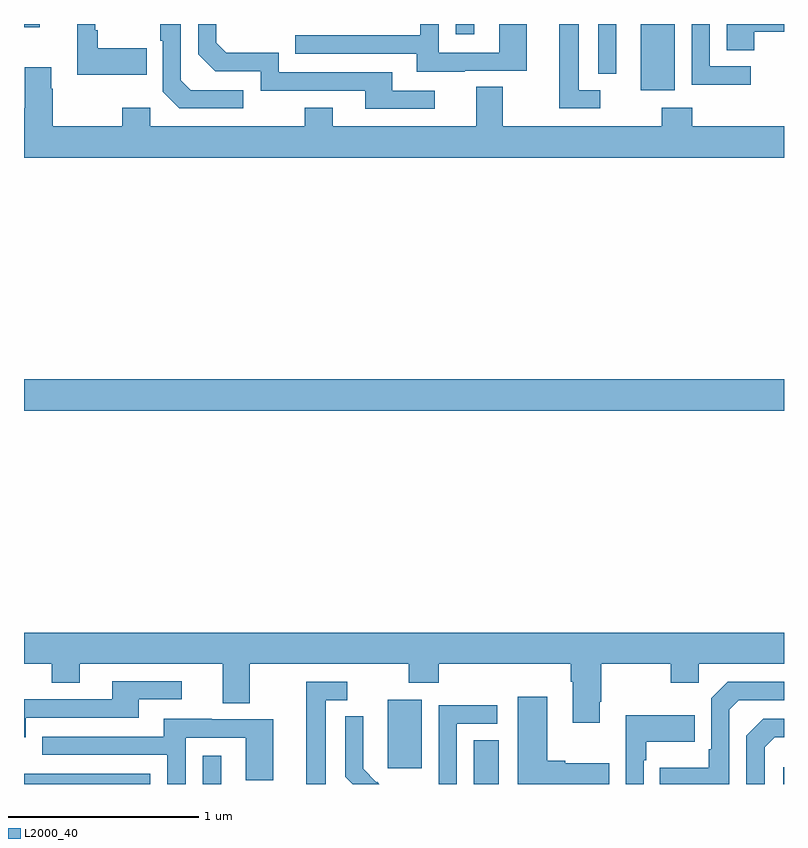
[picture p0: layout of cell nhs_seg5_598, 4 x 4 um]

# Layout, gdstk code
import gdstk
lib = gdstk.Library(unit=1e-6, precision=1e-09)
def R(c, l, rs):  # rectangles x0, y0, x1, y1
    for r in rs: c.add(gdstk.rectangle(r[:2], r[2:], *l))
def P(c, l, *ps):  # polygons
    for p in ps: c.add(gdstk.Polygon(p, *l))
L2000_40 = (2000, 40)

nhs_seg5_598 = lib.new_cell('nhs_seg5_598')
R(nhs_seg5_598, L2000_40, [(149,850.799,149.664,850.854), (149.94,850.799,150.037,850.948), (151.367,850.799,151.498,851.03), (152.997,850.799,153,850.888), (150.914,850.881,151.093,851.242), (149,852.764,153,852.928), (152.246,854.45,152.425,854.799), (151.272,854.745,151.369,854.799), (149,854.783,149.083,854.799)])
P(nhs_seg5_598, L2000_40, [(151.321,854.553),(151.645,854.553),(151.645,854.799),(151.5,854.799),(151.5,854.649),(151.182,854.649),(151.182,854.799),(151.086,854.799),(151.086,854.739),(150.427,854.739),(150.427,854.643),(151.067,854.643),(151.067,854.549),(151.321,854.549)],
  [(149.645,854.671),(149.389,854.671),(149.389,854.767),(149.376,854.767),(149.376,854.799),(149.279,854.799),(149.279,854.531),(149.645,854.531)],
  [(152.824,854.577),(152.61,854.577),(152.61,854.799),(152.514,854.799),(152.514,854.479),(152.824,854.479)],
  [(152.118,854.69),(152.117,854.69),(152.117,854.799),(152.022,854.799),(152.022,854.536),(152.118,854.536)],
  [(151.162,854.448),(150.937,854.448),(150.937,854.544),(150.342,854.544),(150.342,854.647),(150.065,854.647),(150.012,854.7),(150.012,854.799),(149.916,854.799),(149.916,854.64),(150.006,854.55),(150.246,854.55),(150.246,854.448),(150.797,854.448),(150.797,854.352),(151.162,854.352)],
  [(152.032,854.451),(151.921,854.451),(151.921,854.799),(151.817,854.799),(151.817,854.355),(152.032,854.355)],
  [(152.843,854.758),(153,854.758),(153,854.799),(152.699,854.799),(152.699,854.662),(152.843,854.662)],
  [(150.154,854.451),(149.877,854.451),(149.826,854.502),(149.826,854.799),(149.718,854.799),(149.718,854.711),(149.73,854.711),(149.73,854.442),(149.817,854.355),(150.154,854.355)],
  [(153,854.26),(152.516,854.26),(152.516,854.359),(152.356,854.359),(152.356,854.26),(151.519,854.26),(151.519,854.468),(151.379,854.468),(151.379,854.26),(150.625,854.26),(150.625,854.359),(150.478,854.359),(150.478,854.26),(149.664,854.26),(149.664,854.359),(149.518,854.359),(149.518,854.26),(149.151,854.26),(149.151,854.459),(149.143,854.459),(149.143,854.572),(149.003,854.572),(149.003,854.356),(149,854.356),(149,854.096),(153,854.096)],
  [(152.029,851.233),(152.037,851.233),(152.037,851.432),(152.404,851.432),(152.404,851.333),(152.55,851.333),(152.55,851.432),(153,851.432),(153,851.596),(149,851.596),(149,851.432),(149.146,851.432),(149.146,851.333),(149.293,851.333),(149.293,851.432),(150.047,851.432),(150.047,851.224),(150.187,851.224),(150.187,851.432),(151.024,851.432),(151.024,851.333),(151.184,851.333),(151.184,851.432),(151.877,851.432),(151.877,851.336),(151.889,851.336),(151.889,851.121),(152.029,851.121)],
  [(149.01,851.148),(149.605,851.148),(149.605,851.244),(149.83,851.244),(149.83,851.34),(149.465,851.34),(149.465,851.244),(149,851.244),(149,851.045),(149.01,851.045)],
  [(152.712,851.19),(152.763,851.241),(153,851.241),(153,851.337),(152.703,851.337),(152.616,851.25),(152.616,850.981),(152.604,850.981),(152.604,850.885),(152.347,850.885),(152.347,850.799),(152.712,850.799)],
  [(150.589,851.241),(150.7,851.241),(150.7,851.337),(150.485,851.337),(150.485,850.799),(150.589,850.799)],
  [(152.08,850.909),(151.849,850.909),(151.849,850.922),(151.753,850.922),(151.753,851.257),(151.598,851.257),(151.598,850.799),(152.08,850.799)],
  [(151.278,851.115),(151.492,851.115),(151.492,851.214),(151.182,851.214),(151.182,850.799),(151.278,850.799)],
  [(152.262,850.925),(152.275,850.925),(152.275,851.021),(152.531,851.021),(152.531,851.161),(152.166,851.161),(152.166,850.799),(152.262,850.799)],
  [(150.858,850.812),(150.855,850.809),(150.785,850.88),(150.785,851.002),(150.786,851.002),(150.786,851.156),(150.69,851.156),(150.69,850.838),(150.729,850.799),(150.871,850.799)],
  [(149.85,851.043),(150.168,851.043),(150.168,850.819),(150.313,850.819),(150.313,851.139),(149.989,851.139),(149.989,851.143),(149.735,851.143),(149.735,851.049),(149.095,851.049),(149.095,850.953),(149.754,850.953),(149.754,850.799),(149.85,850.799)],
  [(152.898,850.992),(152.951,851.045),(153,851.045),(153,851.142),(152.892,851.142),(152.802,851.052),(152.802,850.799),(152.898,850.799)])

lib.write_gds('nhs_seg5_598.gds')
